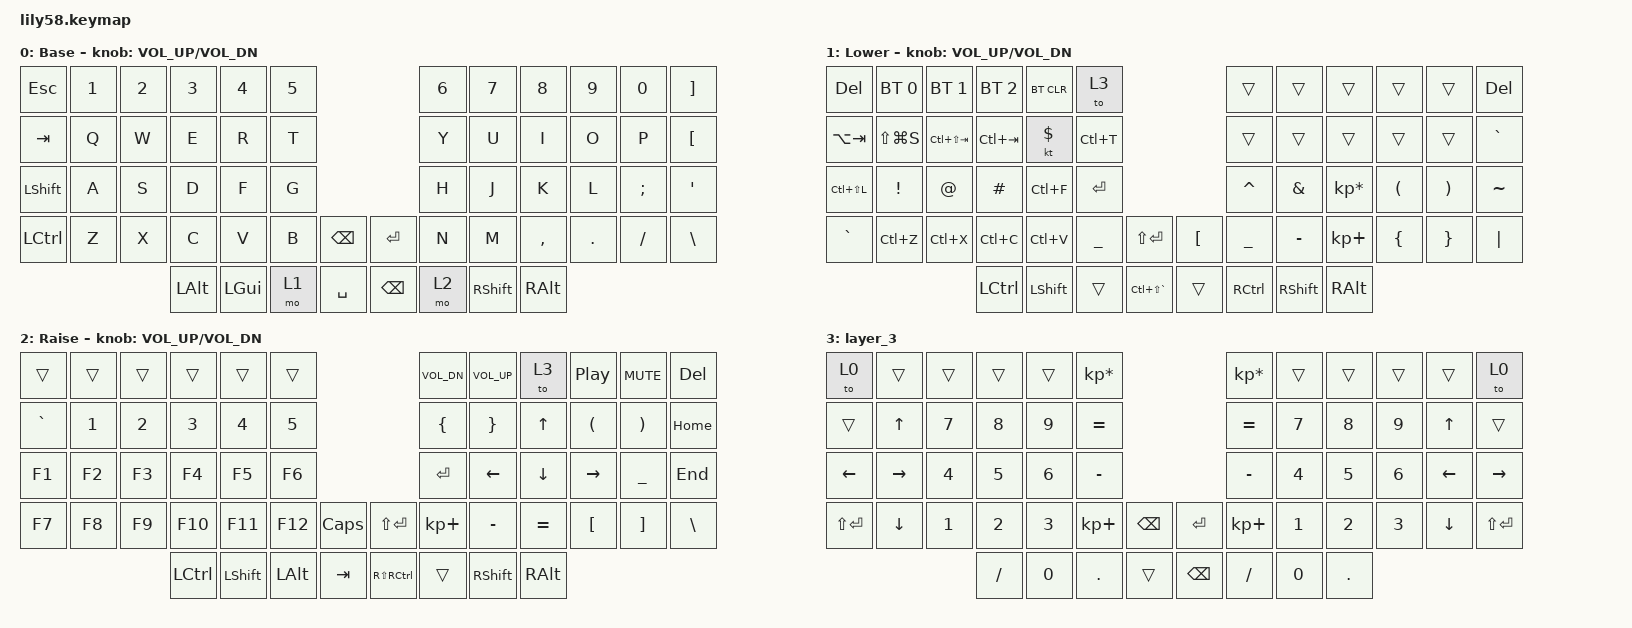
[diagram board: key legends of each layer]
/*
 * Copyright (c) 2020 The ZMK Contributors
 *
 * SPDX-License-Identifier: MIT
 */

#include <behaviors.dtsi>
#include <dt-bindings/zmk/bt.h>
#include <dt-bindings/zmk/keys.h>

/ {
    combos { compatible = "zmk,combos"; };

    keymap {
        compatible = "zmk,keymap";

        default_layer {
            // ------------------------------------------------------------------------------------------------------------
            // |  ESC  |  1  |  2  |  3   |  4   |  5   |                   |  6   |  7    |  8    |  9   |   0   |   `   |
            // |  TAB  |  Q  |  W  |  E   |  R   |  T   |                   |  Y   |  U    |  I    |  O   |   P   |   -   |
            // |  CTRL |  A  |  S  |  D   |  F   |  G   |                   |  H   |  J    |  K    |  L   |   ;   |   '   |
            // | SHIFT |  Z  |  X  |  C   |  V   |  B   |   "["  |  |  "]"  |  N   |  M    |  ,    |  .   |   /   | SHIFT |
            //                     | ALT  | GUI  | LOWER|  SPACE |  | ENTER | RAISE| BSPC  | GUI   |

            display-name = "Base";
            bindings = <
&kp ESC           &kp N1  &kp N2  &kp N3    &kp N4        &kp N5                          &kp N6  &kp N7           &kp N8         &kp N9   &kp N0    &kp RBKT
&kp TAB           &kp Q   &kp W   &kp E     &kp R         &kp T                           &kp Y   &kp U            &kp I          &kp O    &kp P     &kp LBKT
&kp LEFT_SHIFT    &kp A   &kp S   &kp D     &kp F         &kp G                           &kp H   &kp J            &kp K          &kp L    &kp SEMI  &kp SQT
&kp LEFT_CONTROL  &kp Z   &kp X   &kp C     &kp V         &kp B   &kp BSPC     &kp ENTER  &kp N   &kp M            &kp COMMA      &kp DOT  &kp FSLH  &kp BSLH
                                  &kp LALT  &kp LEFT_GUI  &mo 1   &kp SPACE    &kp BSPC   &mo 2   &kp RIGHT_SHIFT  &kp RIGHT_ALT
            >;

            sensor-bindings = <&inc_dec_kp C_VOL_UP C_VOL_DN>;
        };

        lower_layer {
            // ------------------------------------------------------------------------------------------------------------
            // | BTCLR | BT1 | BT2 |  BT3 |  BT4 |  BT5 |                   |      |       |       |      |       |       |
            // |  F1   |  F2 |  F3 |  F4  |  F5  |  F6  |                   |  F7  |  F8   |  F9   |  F10 |  F11  |  F12  |
            // |   `   |  !  |  @  |  #   |  $   |  %   |                   |  ^   |  &    |  *    |  (   |   )   |   ~   |
            // |       |     |     |      |      |      |        |  |       |      |  _    |  +    |  {   |   }   |  "|"  |
            //                     |      |      |      |        |  |       |      |       |       |

            display-name = "Lower";
            bindings = <
&kp DELETE     &bt BT_SEL 0   &bt BT_SEL 1     &bt BT_SEL 2  &bt BT_CLR      &to 3                                     &trans             &trans           &trans           &trans    &trans    &kp DELETE
&kp LA(TAB)    &kp LS(LG(S))  &kp LC(LS(TAB))  &kp LC(TAB)   &kt DOLLAR      &kp LC(T)                                 &trans             &trans           &trans           &trans    &trans    &kp GRAVE
&kp LC(LS(L))  &kp EXCL       &kp AT           &kp HASH      &kp LC(F)       &kp ENTER                                 &kp CARET          &kp AMPS         &kp KP_MULTIPLY  &kp LPAR  &kp RPAR  &kp TILDE
&kp GRAVE      &kp LC(Z)      &kp LC(X)        &kp LC(C)     &kp LC(V)       &kp UNDER  &kp LS(ENTER)        &kp LBKT  &kp UNDERSCORE     &kp MINUS        &kp KP_PLUS      &kp LBRC  &kp RBRC  &kp PIPE
                                               &kp LCTRL     &kp LEFT_SHIFT  &trans     &kp LC(LS(GRAVE))    &trans    &kp RIGHT_CONTROL  &kp RIGHT_SHIFT  &kp RIGHT_ALT
            >;

            sensor-bindings = <&inc_dec_kp C_VOL_UP C_VOL_DN>;
        };

        raise_layer {
            // ------------------------------------------------------------------------------------------------------------
            // |       |     |     |      |      |      |                   |      |       |       |      |       |       |
            // |   `   |  1  |  2  |  3   |  4   |  5   |                   |  6   |   7   |   8   |  9   |   0   |       |
            // |   F1  |  F2 |  F3 |  F4  |  F5  |  F6  |                   |      |   <-  |   v   |  ^   |  ->   |       |
            // |   F7  |  F8 |  F9 |  F10 |  F11 |  F12 |        |  |       |  +   |   -   |   =   |  [   |   ]   |   \   |
            //                     |      |      |      |        |  |       |      |       |       |

            display-name = "Raise";
            bindings = <
&trans     &trans  &trans  &trans            &trans          &trans                                   &kp C_VOL_DN  &kp C_VOL_UP     &to 3          &kp C_PLAY_PAUSE  &kp C_MUTE      &kp DELETE
&kp GRAVE  &kp N1  &kp N2  &kp N3            &kp N4          &kp N5                                   &kp LBRC      &kp RBRC         &kp UP         &kp LPAR          &kp RPAR        &kp HOME
&kp F1     &kp F2  &kp F3  &kp F4            &kp F5          &kp F6                                   &kp RET       &kp LEFT         &kp DOWN       &kp RIGHT         &kp UNDERSCORE  &kp END
&kp F7     &kp F8  &kp F9  &kp F10           &kp F11         &kp F12       &kp CAPS    &kp LS(ENTER)  &kp KP_PLUS   &kp MINUS        &kp EQUAL      &kp LBKT          &kp RBKT        &kp BSLH
                           &kp LEFT_CONTROL  &kp LEFT_SHIFT  &kp LEFT_ALT  &kp TAB     &kp RS(RCTRL)  &trans        &kp RIGHT_SHIFT  &kp RIGHT_ALT
            >;

            sensor-bindings = <&inc_dec_kp C_VOL_UP C_VOL_DN>;
        };

        layer_3 {
            bindings = <
&to 0        &trans     &trans  &trans    &trans  &kp KP_MULTIPLY                        &kp KP_MULTIPLY  &trans  &trans   &trans  &trans    &to 0
&trans       &kp UP     &kp N7  &kp N8    &kp N9  &kp EQUAL                              &kp EQUAL        &kp N7  &kp N8   &kp N9  &kp UP    &trans
&kp LEFT     &kp RIGHT  &kp N4  &kp N5    &kp N6  &kp MINUS                              &kp MINUS        &kp N4  &kp N5   &kp N6  &kp LEFT  &kp RIGHT
&kp LS(RET)  &kp DOWN   &kp N1  &kp N2    &kp N3  &kp KP_PLUS      &kp BSPC    &kp RET   &kp KP_PLUS      &kp N1  &kp N2   &kp N3  &kp DOWN  &kp LS(RET)
                                &kp FSLH  &kp N0  &kp DOT          &trans      &kp BSPC  &kp FSLH         &kp N0  &kp DOT
            >;
        };
    };

    conditional_layers { compatible = "zmk,conditional-layers"; };
};
